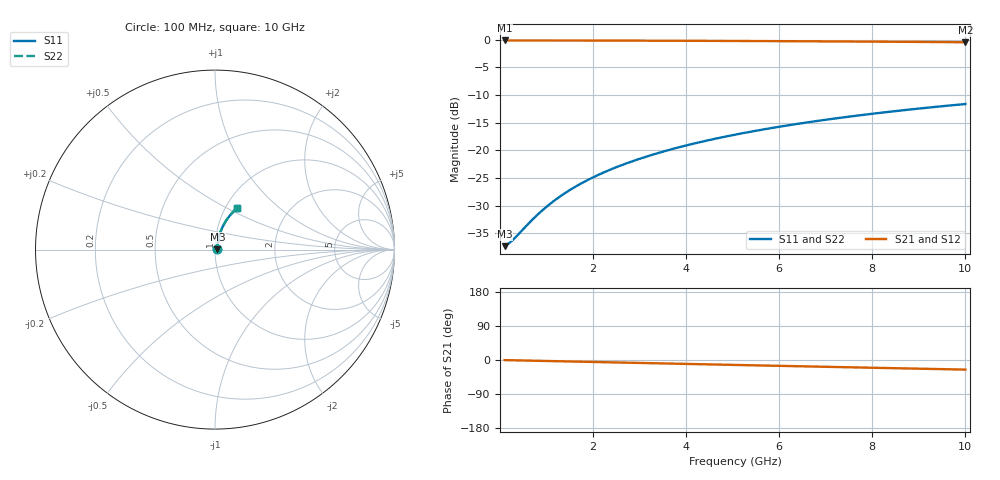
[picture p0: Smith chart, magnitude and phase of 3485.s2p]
# Hz S RI R 50.00
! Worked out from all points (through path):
!   100 points, 100 MHz to 10 GHz, reference 50 ohm
!   highest |S21| = -0.12 dB at 100 MHz (marker M1); lowest = -0.4 dB at 10 GHz (marker M2)
!   group delay of S21, straight-line fit = 7.05 ps
!   lowest |S11| = -37.3 dB at 100 MHz (marker M3), VSWR 1.03, Z = 51.4 + j0.279 ohm
!   |S11| at or under -10 dB: start of sweep to end of sweep
!   |S22| runs from -37.3 to -11.6 dB; largest |S21 - S12| = 0
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1e8  0.0134 0.00272  0.9866 -0.00446  0.9866 -0.00446  0.0134 0.00272
2e8  0.0135 0.00543  0.9865 -0.00892  0.9865 -0.00892  0.0135 0.00543
3e8  0.0136 0.00814  0.9864 -0.0134  0.9864 -0.0134  0.0136 0.00814
7e8  0.0143 0.019  0.9856 -0.0312  0.9856 -0.0312  0.0143 0.019
8e8  0.0145 0.0217  0.9854 -0.0357  0.9854 -0.0357  0.0145 0.0217
1e9  0.015 0.0271  0.9848 -0.0446  0.9848 -0.0446  0.015 0.0271
1.2e9  0.0156 0.0325  0.9842 -0.0534  0.9842 -0.0534  0.0156 0.0325
1.4e9  0.0163 0.0379  0.9834 -0.0623  0.9834 -0.0623  0.0163 0.0379
1.6e9  0.017 0.0432  0.9826 -0.0712  0.9826 -0.0712  0.017 0.0432
1.8e9  0.0179 0.0486  0.9816 -0.08  0.9816 -0.08  0.0179 0.0486
2.1e9  0.0194 0.0565  0.9799 -0.0932  0.9799 -0.0932  0.0194 0.0565
2.5e9  0.0217 0.0671  0.9773 -0.1108  0.9773 -0.1108  0.0217 0.0671
2.9e9  0.0243 0.0776  0.9743 -0.1282  0.9743 -0.1282  0.0243 0.0776
3.4e9  0.0282 0.0905  0.97 -0.1499  0.97 -0.1499  0.0282 0.0905
3.8e9  0.0317 0.1006  0.966 -0.1671  0.966 -0.1671  0.0317 0.1006
4.2e9  0.0355 0.1106  0.9617 -0.1841  0.9617 -0.1841  0.0355 0.1106
5.1e9  0.0454 0.1325  0.9505 -0.2218  0.9505 -0.2218  0.0454 0.1325
5.9e9  0.0556 0.1512  0.939 -0.2545  0.939 -0.2545  0.0556 0.1512
6.7e9  0.0669 0.1689  0.926 -0.2863  0.926 -0.2863  0.0669 0.1689
7.5e9  0.0795 0.1857  0.9117 -0.3172  0.9117 -0.3172  0.0795 0.1857
8.4e9  0.0948 0.2034  0.8941 -0.3507  0.8941 -0.3507  0.0948 0.2034
1e10  0.1248 0.2313  0.8594 -0.4069  0.8594 -0.4069  0.1248 0.2313
